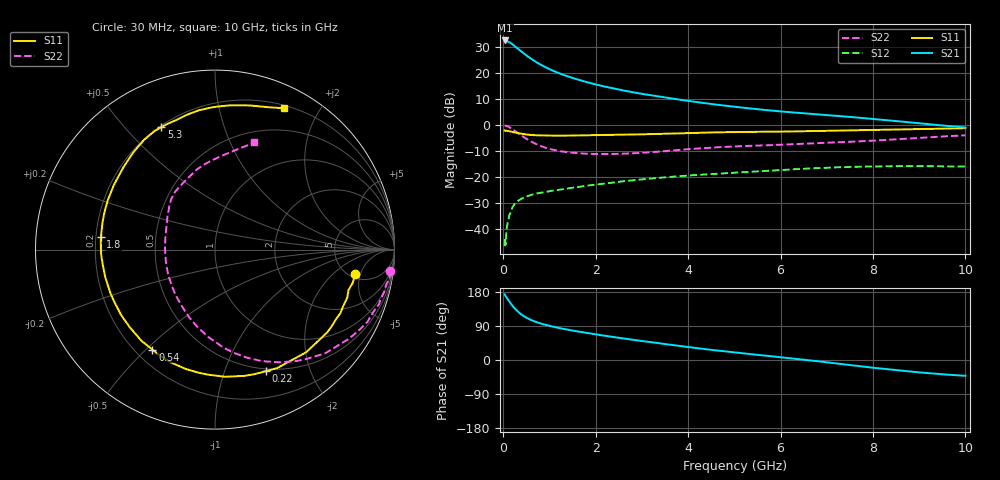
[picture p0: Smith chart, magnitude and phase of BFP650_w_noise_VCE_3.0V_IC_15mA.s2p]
! Infineon Technologies  Discrete & RF Semiconductors
! BFP650
! VCE =  3.0 V,  IC =  15 mA
! Common Emitter S-Parameters:  Jan 2016
# GHz  S  MA  R  50
!  f  S11  S21  S12  S22
! GHz  MAG  ANG  MAG  ANG  MAG  ANG  MAG  ANG
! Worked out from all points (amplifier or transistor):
!   229 points, 30 MHz to 10 GHz, reference 50 ohm
!   highest |S21| = 32.6 dB at 40 MHz (marker M1)
!   |S21| within 3 dB of that: start of sweep to 307.2 MHz
!   unconditionally stable (mu >= 1): 2.905 GHz to end of sweep
!   at 280 MHz: K = 0.20, MSG = 29.9 dB, |S12| = -29.7 dB
!   at 1.78 GHz: K = 0.83, MSG = 20.0 dB, |S12| = -23.3 dB
!   at 10 GHz: K = 1.05, MAG = 6.1 dB, |S12| = -15.9 dB
!   lowest NFmin = 0.62 dB at 450 MHz
!   S11 on the Smith chart (normalised r, x): 30 MHz: 5.54, -4.11; 220 MHz: 0.48, -1.40; 540 MHz: 0.27, -0.52; 1.8 GHz: 0.22, +0.05; 5.3 GHz: 0.21, +0.63; 10 GHz: 0.23, +1.58
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0.03  0.7928 -10.0  42.7 173.3  0.0047 71.0  0.9838 -7.0
0.04  0.7896 -13.5  42.86 171.2  0.0068 81.1  0.9857 -9.4
0.08  0.7833 -26.8  41.88 163.5  0.0112 77.8  0.9634 -18.4
0.13  0.7664 -42.5  39.66 154.2  0.0186 67.8  0.9176 -29.6
0.2  0.7456 -62.3  36.17 142.8  0.0264 60.5  0.8428 -43.3
0.22  0.7343 -67.2  35.01 140.1  0.0281 59.1  0.8165 -46.7
0.3  0.711 -85.4  30.72 129.6  0.0341 50.4  0.726 -59.9
0.36  0.693 -97.0  27.71 123.2  0.0368 49.4  0.665 -68.3
0.45  0.675 -111.2  23.92 115.3  0.0406 44.3  0.5861 -79.4
0.54  0.6571 -122.1  20.86 109.5  0.0436 41.3  0.5228 -88.5
0.7  0.6424 -137.8  16.68 100.8  0.0481 37.7  0.4397 -103.3
0.9  0.6328 -151.5  13.25 93.2  0.0517 34.9  0.3726 -118.3
1.3  0.6309 -170.2  9.325 82.2  0.0587 34.2  0.31 -142.1
1.7  0.6376 176.5  7.179 73.5  0.0667 33.0  0.2859 -160.9
1.8  0.6398 173.6  6.785 71.4  0.0685 32.2  0.2828 -165.1
2.44  0.6533 158.3  4.983 59.6  0.0802 30.4  0.2799 172.8
3.4  0.6812 139.9  3.528 43.8  0.0978 24.4  0.3124 149.0
5.1  0.7424 115.8  2.218 18.9  0.1233 12.3  0.3938 123.4
5.3  0.7448 113.6  2.123 16.3  0.1263 10.9  0.3991 120.8
6.8  0.7748 98.7  1.624 -3.2  0.1496 -1.2  0.452 103.9
8.4  0.8202 78.7  1.227 -25.5  0.1625 -16.9  0.5286 84.9
10  0.8787 63.9  0.903 -41.7  0.16 -28.8  0.6396 70.0
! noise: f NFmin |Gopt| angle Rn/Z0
0.45  0.62  0.09  77  0.63
0.9  0.63  0.13  149  0.3
1.9  0.82  0.25  177  0.05
2.4  0.9  0.27  -167  0.07
3.5  1.2  0.32  -133  0.12
